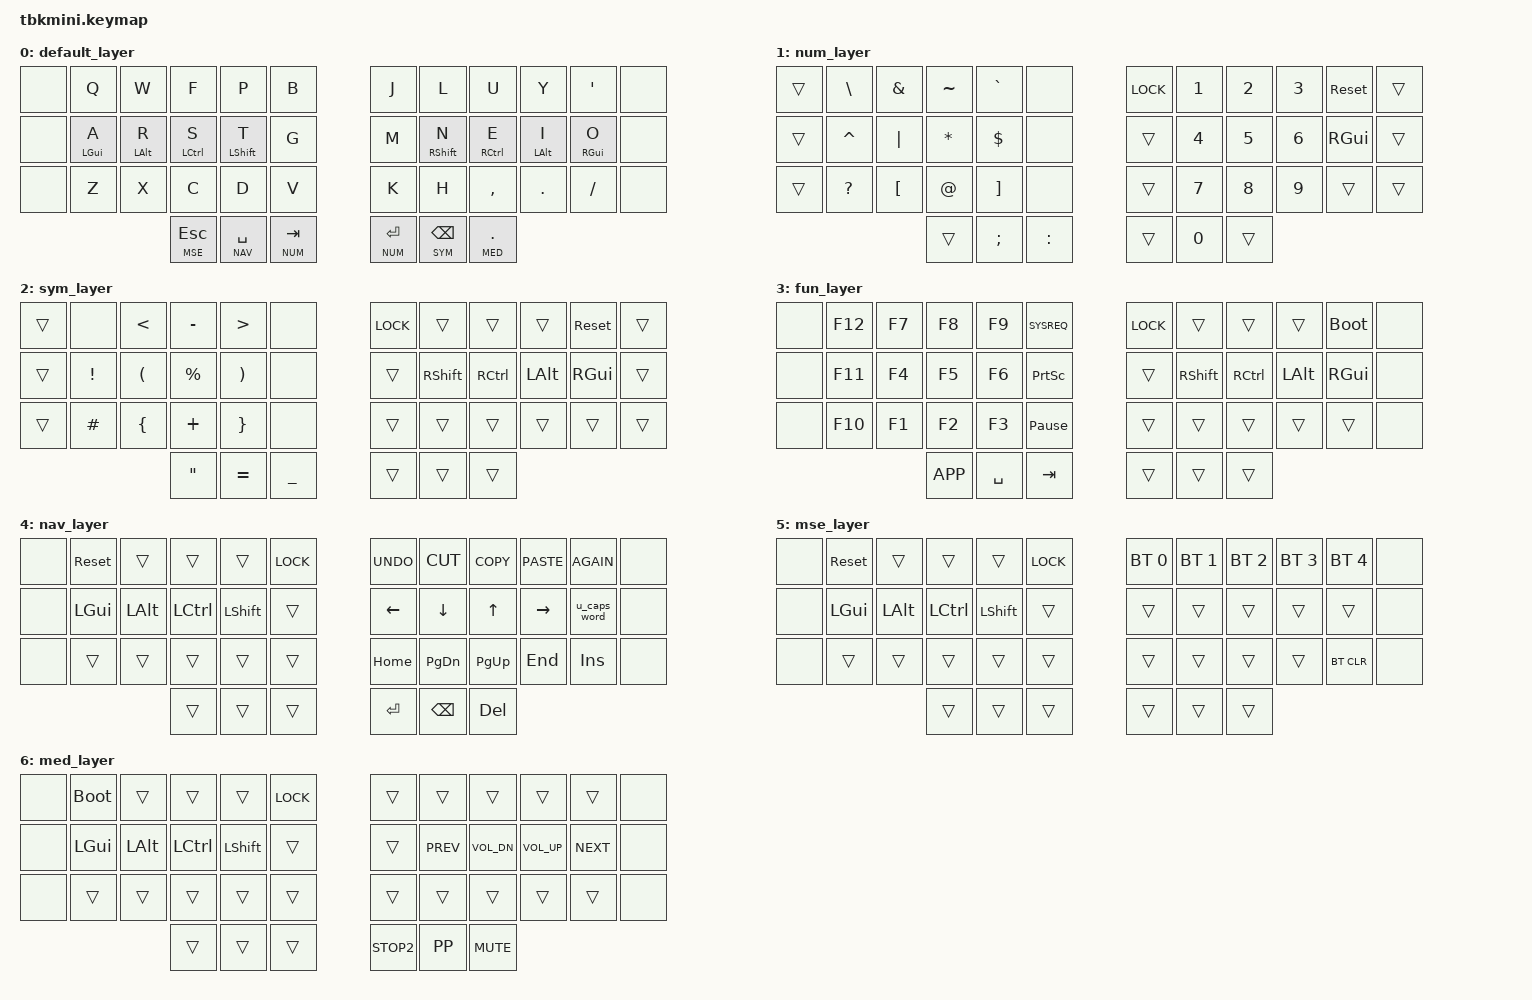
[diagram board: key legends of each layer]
// A Myroku inspired keymap design
// Based on the work of cwebster2/zmk-config
// Put it in place of the default keymap into the boards/shields/tbkmini

#include <behaviors.dtsi>
#include <dt-bindings/zmk/keys.h>
#include <dt-bindings/zmk/bt.h>

#define DEFAULT 0
#define NUM 1
#define SYM 2
#define FUN 3
#define NAV 4
#define MSE 5
#define MED 6

&lt {
    tapping-term-ms = <300>;
    quick_tap_ms = <200>;
    flavor = "hold-preferred";
};

&caps_word {
    continue-list = <UNDERSCORE MINUS BACKSPACE DELETE>;
};

/ {
    chosen {
        zmk,matrix_transform = &default_transform;
    };

    behaviors {
        hm: homerow_mods {
            compatible = "zmk,behavior-hold-tap";
            label = "HOMEROW_MODS";
            #binding-cells = <2>;
            tapping-term-ms = <150>;
            quick_tap_ms = <150>;
            flavor = "tap-preferred";
            bindings = <&kp>, <&kp>;
        };
        u_caps_word: u_caps_word {
            compatible = "zmk,behavior-mod-morph";
            label = "u_caps_word";
            #binding-cells = <0>;
            bindings = <&caps_word>, <&kp CAPS>;
            mods = <(MOD_LSFT|MOD_RSFT)>;
        };
    };

    keymap {
        compatible = "zmk,keymap";
        default_layer {
            bindings = <
                &none  &kp Q      &kp W      &kp F       &kp P         &kp B       /* split */  &kp J       &kp L        &kp U       &kp Y      &kp SQT    &none
                &none  &hm LGUI A &hm LALT R &hm LCTRL S &hm LSHFT T   &kp G       /* split */  &kp M       &hm RSHFT N  &hm RCTRL E &hm LALT I &hm RGUI O &none
                &none  &kp Z      &kp X      &kp C       &kp D         &kp V       /* split */  &kp K       &kp H        &kp COMMA   &kp DOT    &kp FSLH   &none
                                             &lt MSE ESC &lt NAV SPACE &lt NUM TAB /* split */  &lt NUM RET &lt SYM BSPC &lt MED DOT
            >;
        };
        num_layer {
            bindings = <
                &trans &kp BSLH   &kp AMPS   &kp TILDE   &kp GRAVE     &none       /* split */  &kp K_LOCK &kp N1        &kp N2      &kp N3     &sys_reset &trans
                &trans &kp CARET  &kp PIPE   &kp STAR    &kp DLLR      &none       /* split */  &trans     &kp N4        &kp N5      &kp N6     &kp RGUI   &trans
                &trans &kp QMARK  &kp LBKT   &kp AT      &kp RBKT      &none       /* split */  &trans     &kp N7        &kp N8      &kp N9     &trans     &trans
                                             &trans      &kp SEMI      &kp COLON   /* split */  &trans     &kp N0        &trans      
            >;
        };
        sym_layer {
            bindings = <
                &trans &none      &kp LT     &kp MINUS   &kp GT        &none       /* split */  &kp K_LOCK &trans        &trans      &trans     &sys_reset &trans
                &trans &kp EXCL   &kp LPAR   &kp PRCNT   &kp RPAR      &none       /* split */  &trans     &kp RSHFT     &kp RCTRL   &kp LALT   &kp RGUI   &trans
                &trans &kp HASH   &kp LBRC   &kp PLUS    &kp RBRC      &none       /* split */  &trans     &trans        &trans      &trans     &trans     &trans
                                             &kp DQT     &kp EQUAL     &kp UNDER   /* split */  &trans     &trans        &trans
            >;
        };
        fun_layer {
            bindings = <
                &none &kp F12 &kp F7 &kp F8 &kp F9 &kp SYSREQ        &kp K_LOCK &trans  &trans     &trans   &bootloader &none
                &none &kp F11 &kp F4 &kp F5 &kp F6 &kp PRINTSCREEN   &trans &kp RSHFT  &kp RCTRL  &kp LALT  &kp RGUI &none
                &none &kp F10 &kp F1 &kp F2 &kp F3 &kp PAUSE_BREAK   &trans &trans  &trans &trans &trans &none
                                  &kp K_APP   &kp SPACE   &kp TAB     &trans &trans &trans
            >;
        };
        nav_layer {
            bindings = <
                &none &sys_reset   &trans   &trans    &trans     &kp K_LOCK   &kp K_UNDO &kp K_CUT &kp K_COPY &kp K_PASTE &kp K_AGAIN &none
                &none &kp LGUI &kp LALT &kp LCTRL &kp LSHFT &trans       &kp LEFT   &kp DOWN  &kp UP     &kp RIGHT   &u_caps_word &none
                &none &trans   &trans   &trans    &trans     &trans       &kp HOME   &kp PG_DN &kp PG_UP  &kp END     &kp INS &none
                                  &trans   &trans   &trans                 &kp RET &kp BSPC &kp DEL
            >;
        };
        mse_layer {
            bindings = <
                &none &sys_reset   &trans   &trans    &trans     &kp K_LOCK   &bt BT_SEL 0 &bt BT_SEL 1 &bt BT_SEL 2 &bt BT_SEL 3 &bt BT_SEL 4 &none
                &none &kp LGUI &kp LALT &kp LCTRL &kp LSHFT &trans       &trans &trans &trans &trans &trans &none
                &none &trans   &trans   &trans    &trans     &trans       &trans &trans &trans &trans &bt BT_CLR &none
                                  &trans   &trans   &trans                 &trans &trans &trans
            >;
        };
        med_layer {
            bindings = <
                &none &bootloader   &trans   &trans    &trans     &kp K_LOCK   &trans &trans     &trans       &trans       &trans &none
                &none &kp LGUI &kp LALT &kp LCTRL &kp LSHFT &trans       &trans &kp K_PREV &kp K_VOL_DN &kp K_VOL_UP &kp K_NEXT &none
                &none &trans   &trans   &trans    &trans     &trans       &trans &trans     &trans       &trans       &trans &none
                                  &trans   &trans   &trans                 &kp K_STOP2 &kp K_PP &kp K_MUTE
            >;
        };
    };
};
